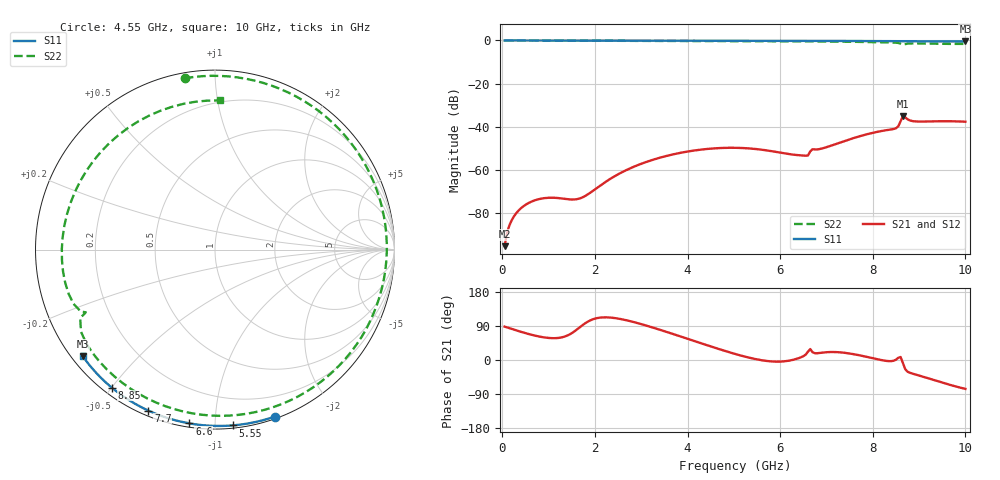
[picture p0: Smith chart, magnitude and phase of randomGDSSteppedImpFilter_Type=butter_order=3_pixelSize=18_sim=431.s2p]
! freq	dB(S11)	phase(S11)	dB(S12)	phase(S12)
!  dB(S21)	phase(S21)	dB(S22)	phase(S22)
!S-par simulation data
#  GHz  S  DB  R 50
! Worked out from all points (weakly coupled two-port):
!   200 points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, 50 MHz to 10 GHz, reference 50 ohm
!   highest |S21| = -35.13 dB at 8.65 GHz (marker M1); lowest = -95.3 dB at 50 MHz (marker M2)
!   lowest |S11| = -0.5 dB at 10 GHz (marker M3), VSWR 36.46, Z = 1.54 - j17.7 ohm
!   |S11| at or under -10 dB: nowhere
!   |S22| runs from -1.9 to 0.0 dB; largest |S21 - S12| = 0
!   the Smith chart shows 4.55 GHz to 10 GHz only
!   S11 on the Smith chart (normalised r, x): 4.55 GHz: 0.02, -1.42; 5.55 GHz: 0.02, -1.10; 6.6 GHz: 0.02, -0.86; 7.7 GHz: 0.02, -0.67; 8.85 GHz: 0.03, -0.50; 10 GHz: 0.03, -0.35
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0.05  -0.00 -0.8  -95.30 88.1  -95.30 88.1  -0.00 -3.2
0.3  -0.01 -4.9  -80.05 78.2  -80.05 78.2  -0.03 -19.1
0.95  -0.02 -15.4  -72.95 58.8  -72.95 58.8  -0.08 -59.6
1.75  -0.04 -28.2  -72.50 93.5  -72.50 93.5  -0.13 -106.5
2.6  -0.05 -41.5  -60.88 107.0  -60.88 107.0  -0.17 -153.1
3.4  -0.07 -53.6  -54.33 79.9  -54.33 79.9  -0.21 164.0
4.05  -0.09 -63.2  -51.29 54.0  -51.29 54.0  -0.24 128.4
4.55  -0.10 -70.4  -50.04 33.9  -50.04 33.9  -0.27 100.0
5.05  -0.12 -77.4  -49.74 15.2  -49.74 15.2  -0.30 70.9
5.55  -0.14 -84.3  -50.47 0.5  -50.47 0.5  -0.33 41.1
6.1  -0.16 -91.7  -52.34 -3.4  -52.34 -3.4  -0.37 8.1
6.6  -0.19 -98.3  -53.26 21.9  -53.26 21.9  -0.43 -21.8
6.7  -0.20 -99.6  -50.37 20.5  -50.37 20.5  -0.43 -27.7
7.25  -0.23 -106.7  -47.61 20.6  -47.61 20.6  -0.54 -60.7
7.7  -0.26 -112.5  -44.48 12.7  -44.48 12.7  -0.66 -88.4
8.35  -0.31 -120.6  -41.37 -3.0  -41.37 -3.0  -0.92 -132.1
8.55  -0.33 -123.1  -39.80 5.7  -39.80 5.7  -1.15 -148.5
8.65  -0.34 -124.3  -35.13 -7.6  -35.13 -7.6  -1.94 -154.1
8.85  -0.35 -126.8  -37.32 -35.7  -37.32 -35.7  -1.36 -167.5
9.35  -0.40 -133.0  -37.44 -54.0  -37.44 -54.0  -1.51 148.7
9.7  -0.44 -137.3  -37.43 -66.8  -37.43 -66.8  -1.60 116.1
10  -0.48 -141.0  -37.64 -76.2  -37.64 -76.2  -1.60 88.3
